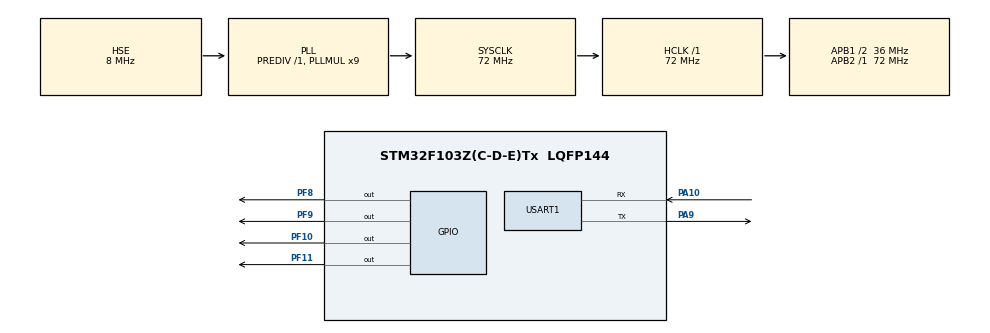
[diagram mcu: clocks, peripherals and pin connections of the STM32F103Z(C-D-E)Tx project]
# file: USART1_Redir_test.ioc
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Mcu.Family=STM32F1
Mcu.Name=STM32F103Z(C-D-E)Tx
Mcu.Package=LQFP144
NVIC.PriorityGroup=NVIC_PRIORITYGROUP_4
OSC_IN.Mode=HSE-External-Oscillator
OSC_IN.Signal=RCC_OSC_IN
OSC_OUT.Mode=HSE-External-Oscillator
OSC_OUT.Signal=RCC_OSC_OUT
PA10.Mode=Asynchronous
PA10.Signal=USART1_RX
PA13.Mode=Serial_Wire
PA13.Signal=SYS_JTMS-SWDIO
PA14.Mode=Serial_Wire
PA14.Signal=SYS_JTCK-SWCLK
PA9.Mode=Asynchronous
PA9.Signal=USART1_TX
PF10.PinState=GPIO_PIN_SET
PF10.Signal=GPIO_Output
PF11.PinState=GPIO_PIN_SET
PF11.Signal=GPIO_Output
PF8.PinState=GPIO_PIN_SET
PF8.Signal=GPIO_Output
PF9.PinState=GPIO_PIN_SET
PF9.Signal=GPIO_Output
ProjectManager.HeapSize=0x200
ProjectManager.StackSize=0x400
ProjectManager.TargetToolchain=MDK-ARM V5.32
RCC.AHBFreq_Value=72000000
RCC.APB1CLKDivider=RCC_HCLK_DIV2
RCC.APB1Freq_Value=36000000
RCC.APB1TimFreq_Value=72000000
RCC.APB2Freq_Value=72000000
RCC.APB2TimFreq_Value=72000000
RCC.HCLKFreq_Value=72000000
RCC.PLLMUL=RCC_PLL_MUL9
RCC.PLLSourceVirtual=RCC_PLLSOURCE_HSE
RCC.SYSCLKFreq_VALUE=72000000
RCC.SYSCLKSource=RCC_SYSCLKSOURCE_PLLCLK
RCC.USBFreq_Value=72000000
USART1.Parity=PARITY_ODD
USART1.VirtualMode=VM_ASYNC
USART1.WordLength=WORDLENGTH_9B
board=custom

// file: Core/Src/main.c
/* USER CODE BEGIN Header */
/**
 ******************************************************************************
 * @file           : main.c
 * @brief          : Main program body
 ******************************************************************************
 * @attention
 *
 * Copyright (c) 2026 STMicroelectronics.
 * All rights reserved.
 *
 * This software is licensed under terms that can be found in the LICENSE file
 * in the root directory of this software component.
 * If no LICENSE file comes with this software, it is provided AS-IS.
 *
 ******************************************************************************
 */
/* USER CODE END Header */
#include "main.h"

/* USER CODE BEGIN Includes */
#include "stdio.h"
#include "BSP_Usart_Redir.h"
#include "BSP_LED.h"
#include "string.h"
/* USER CODE END Includes */

/* USER CODE BEGIN PM */
#define SIZE 64
/* USER CODE END PM */

UART_HandleTypeDef huart1;

/* USER CODE BEGIN PV */
char which_led[SIZE];
/* USER CODE END PV */

void SystemClock_Config(void);
static void MX_GPIO_Init(void);
static void MX_USART1_UART_Init(void);
/* USER CODE BEGIN PFP */
void Usart_Ctl_LED(void);
/* USER CODE END PFP */

int main(void)
{

  /* MCU Configuration--------------------------------------------------------*/

  /* Reset of all peripherals, Initializes the Flash interface and the Systick. */
  HAL_Init();

  /* Configure the system clock */
  SystemClock_Config();

  /* Initialize all configured peripherals */
  MX_GPIO_Init();
  MX_USART1_UART_Init();
  /* USER CODE BEGIN 2 */
  BSP_Usart_Init(&huart1);
  /* USER CODE END 2 */

  /* Infinite loop */
  /* USER CODE BEGIN WHILE */
  while (1)
  {
    Usart_Ctl_LED();

    /* USER CODE END WHILE */

  }
}

void SystemClock_Config(void)
{
  RCC_OscInitTypeDef RCC_OscInitStruct = {0};
  RCC_ClkInitTypeDef RCC_ClkInitStruct = {0};

  /** Initializes the RCC Oscillators according to the specified parameters
  * in the RCC_OscInitTypeDef structure.
  */
  RCC_OscInitStruct.OscillatorType = RCC_OSCILLATORTYPE_HSE;
  RCC_OscInitStruct.HSEState = RCC_HSE_ON;
  RCC_OscInitStruct.HSEPredivValue = RCC_HSE_PREDIV_DIV1;
  RCC_OscInitStruct.HSIState = RCC_HSI_ON;
  RCC_OscInitStruct.PLL.PLLState = RCC_PLL_ON;
  RCC_OscInitStruct.PLL.PLLSource = RCC_PLLSOURCE_HSE;
  RCC_OscInitStruct.PLL.PLLMUL = RCC_PLL_MUL9;
  if (HAL_RCC_OscConfig(&RCC_OscInitStruct) != HAL_OK)
  {
    Error_Handler();
  }

  /** Initializes the CPU, AHB and APB buses clocks
  */
  RCC_ClkInitStruct.ClockType = RCC_CLOCKTYPE_HCLK|RCC_CLOCKTYPE_SYSCLK
                              |RCC_CLOCKTYPE_PCLK1|RCC_CLOCKTYPE_PCLK2;
  RCC_ClkInitStruct.SYSCLKSource = RCC_SYSCLKSOURCE_PLLCLK;
  RCC_ClkInitStruct.AHBCLKDivider = RCC_SYSCLK_DIV1;
  RCC_ClkInitStruct.APB1CLKDivider = RCC_HCLK_DIV2;
  RCC_ClkInitStruct.APB2CLKDivider = RCC_HCLK_DIV1;

  if (HAL_RCC_ClockConfig(&RCC_ClkInitStruct, FLASH_LATENCY_2) != HAL_OK)
  {
    Error_Handler();
  }
}

static void MX_USART1_UART_Init(void)
{

  huart1.Instance = USART1;
  huart1.Init.BaudRate = 115200;
  huart1.Init.WordLength = UART_WORDLENGTH_9B;
  huart1.Init.StopBits = UART_STOPBITS_1;
  huart1.Init.Parity = UART_PARITY_ODD;
  huart1.Init.Mode = UART_MODE_TX_RX;
  huart1.Init.HwFlowCtl = UART_HWCONTROL_NONE;
  huart1.Init.OverSampling = UART_OVERSAMPLING_16;
  if (HAL_UART_Init(&huart1) != HAL_OK)
  {
    Error_Handler();
  }

}

static void MX_GPIO_Init(void)
{
  GPIO_InitTypeDef GPIO_InitStruct = {0};

  /* GPIO Ports Clock Enable */
  __HAL_RCC_GPIOF_CLK_ENABLE();
  __HAL_RCC_GPIOA_CLK_ENABLE();

  /*Configure GPIO pin Output Level */
  HAL_GPIO_WritePin(GPIOF, GPIO_PIN_8|GPIO_PIN_9|GPIO_PIN_10|GPIO_PIN_11, GPIO_PIN_SET);

  /*Configure GPIO pins : PF8 PF9 PF10 PF11 */
  GPIO_InitStruct.Pin = GPIO_PIN_8|GPIO_PIN_9|GPIO_PIN_10|GPIO_PIN_11;
  GPIO_InitStruct.Mode = GPIO_MODE_OUTPUT_PP;
  GPIO_InitStruct.Pull = GPIO_NOPULL;
  GPIO_InitStruct.Speed = GPIO_SPEED_FREQ_LOW;
  HAL_GPIO_Init(GPIOF, &GPIO_InitStruct);

}

/* USER CODE BEGIN 4 */
void Usart_Ctl_LED(void)
{
  fgets(which_led, SIZE - 1, stdin);
  if (strncasecmp(which_led, "LED1", strlen("LED1")) == 0)
  {
    printf("LED1 is ON\n");
    LED_Blink(LED1);
  }
  if (strncasecmp(which_led, "LED2", strlen("LED2")) == 0)
  {
    printf("LED2 is ON\n");
    LED_Blink(LED2);
  }
  if (strncasecmp(which_led, "LED3", strlen("LED3")) == 0)
  {
    printf("LED3 is ON\n");
    LED_Blink(LED3);
  }
  if (strncasecmp(which_led, "LED4", strlen("LED4")) == 0)
  {
    printf("LED4 is ON\n");
    LED_Blink(LED4);
  }
  if (strncasecmp(which_led, "ALL", strlen("ALL")) == 0)
  {
    printf("All LEDs are ON\n");
    LED_Blink(ALL);
  }
}
/* USER CODE END 4 */

void Error_Handler(void)
{
  __disable_irq();
  while (1)
  {
  }
}
